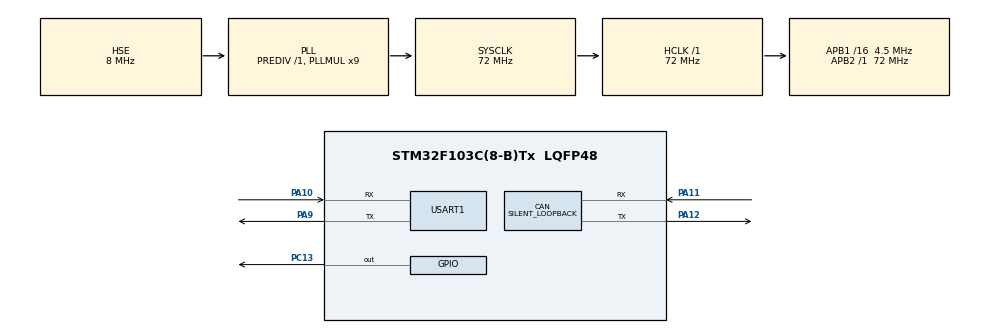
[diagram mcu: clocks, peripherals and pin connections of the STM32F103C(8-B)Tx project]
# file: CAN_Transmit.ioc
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CAN.CalculateTimeBit=10666
CAN.CalculateTimeQuantum=3555.5555555555557
CAN.Mode=CAN_MODE_SILENT_LOOPBACK
Mcu.Family=STM32F1
Mcu.Name=STM32F103C(8-B)Tx
Mcu.Package=LQFP48
NVIC.CAN1_RX1_IRQn=true\:0\:0\:false\:false\:true\:true
NVIC.PriorityGroup=NVIC_PRIORITYGROUP_4
PA10.Mode=Asynchronous
PA10.Signal=USART1_RX
PA11.Mode=Master
PA11.Signal=CAN_RX
PA12.Mode=Master
PA12.Signal=CAN_TX
PA13.Mode=Serial_Wire
PA13.Signal=SYS_JTMS-SWDIO
PA14.Mode=Serial_Wire
PA14.Signal=SYS_JTCK-SWCLK
PA9.Mode=Asynchronous
PA9.Signal=USART1_TX
PC13-TAMPER-RTC.Signal=GPIO_Output
PD0-OSC_IN.Mode=HSE-External-Oscillator
PD0-OSC_IN.Signal=RCC_OSC_IN
PD1-OSC_OUT.Mode=HSE-External-Oscillator
PD1-OSC_OUT.Signal=RCC_OSC_OUT
ProjectManager.HeapSize=0x200
ProjectManager.StackSize=0x400
ProjectManager.TargetToolchain=SW4STM32
RCC.AHBFreq_Value=72000000
RCC.APB1CLKDivider=RCC_HCLK_DIV16
RCC.APB1Freq_Value=4500000
RCC.APB1TimFreq_Value=9000000
RCC.APB2Freq_Value=72000000
RCC.APB2TimFreq_Value=72000000
RCC.HCLKFreq_Value=72000000
RCC.PLLMUL=RCC_PLL_MUL9
RCC.PLLSourceVirtual=RCC_PLLSOURCE_HSE
RCC.SYSCLKFreq_VALUE=72000000
RCC.SYSCLKSource=RCC_SYSCLKSOURCE_PLLCLK
RCC.USBFreq_Value=72000000
USART1.VirtualMode=VM_ASYNC
board=CAN_Transmit

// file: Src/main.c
/**
  ******************************************************************************
  * @file           : main.c
  * @brief          : Main program body
  ******************************************************************************
  ** This notice applies to any and all portions of this file
  * that are not between comment pairs USER CODE BEGIN and
  * USER CODE END. Other portions of this file, whether
  * inserted by the user or by software development tools
  * are owned by their respective copyright owners.
  *
  * COPYRIGHT(c) 2018 STMicroelectronics
  *
  * Redistribution and use in source and binary forms, with or without modification,
  * are permitted provided that the following conditions are met:
  *   1. Redistributions of source code must retain the above copyright notice,
  *      this list of conditions and the following disclaimer.
  *   2. Redistributions in binary form must reproduce the above copyright notice,
  *      this list of conditions and the following disclaimer in the documentation
  *      and/or other materials provided with the distribution.
  *   3. Neither the name of STMicroelectronics nor the names of its contributors
  *      may be used to endorse or promote products derived from this software
  *      without specific prior written permission.
  *
  * THIS SOFTWARE IS PROVIDED BY THE COPYRIGHT HOLDERS AND CONTRIBUTORS "AS IS"
  * AND ANY EXPRESS OR IMPLIED WARRANTIES, INCLUDING, BUT NOT LIMITED TO, THE
  * IMPLIED WARRANTIES OF MERCHANTABILITY AND FITNESS FOR A PARTICULAR PURPOSE ARE
  * DISCLAIMED. IN NO EVENT SHALL THE COPYRIGHT HOLDER OR CONTRIBUTORS BE LIABLE
  * FOR ANY DIRECT, INDIRECT, INCIDENTAL, SPECIAL, EXEMPLARY, OR CONSEQUENTIAL
  * DAMAGES (INCLUDING, BUT NOT LIMITED TO, PROCUREMENT OF SUBSTITUTE GOODS OR
  * SERVICES; LOSS OF USE, DATA, OR PROFITS; OR BUSINESS INTERRUPTION) HOWEVER
  * CAUSED AND ON ANY THEORY OF LIABILITY, WHETHER IN CONTRACT, STRICT LIABILITY,
  * OR TORT (INCLUDING NEGLIGENCE OR OTHERWISE) ARISING IN ANY WAY OUT OF THE USE
  * OF THIS SOFTWARE, EVEN IF ADVISED OF THE POSSIBILITY OF SUCH DAMAGE.
  *
  ******************************************************************************
  */
#include "main.h"
#include "stm32f1xx_hal.h"

/* USER CODE BEGIN Includes */

//#define __cplusplus;

/* USER CODE END Includes */

CAN_HandleTypeDef hcan;

UART_HandleTypeDef huart1;

/* USER CODE BEGIN PV */
/* Private variables ---------------------------------------------------------*/
uint8_t can_rx_data[200];
uint8_t can_tx_data[200];
static CanTxMsgTypeDef canTxMessage;
static CanRxMsgTypeDef canRxMessage;
uint16_t CAN_ID;
uint8_t CAN_DLC;
uint8_t DATA[8];
uint8_t hhal_state;

/* USER CODE END PV */

void SystemClock_Config(void);
static void MX_GPIO_Init(void);
static void MX_CAN_Init(void);
static void MX_USART1_UART_Init(void);

/* USER CODE BEGIN PFP */
/* Private function prototypes -----------------------------------------------*/
extern void initialise_monitor_handles(void);

/* USER CODE END PFP */

int main(void)
{

  /* MCU Configuration----------------------------------------------------------*/

  /* Reset of all peripherals, Initializes the Flash interface and the Systick. */
  HAL_Init();

  /* Configure the system clock */
  SystemClock_Config();

  /* Initialize all configured peripherals */
  MX_GPIO_Init();
  MX_CAN_Init();
  MX_USART1_UART_Init();
  /* USER CODE BEGIN 2 */
//  hcan->pTxMsg->StdId = 1;

//  hcan.pTxMsg = &canTxMessage;
//  hcan.pRxMsg = &canRxMessage;

/*	CAN_FilterConfTypeDef canFilterConfig;
	canFilterConfig.FilterNumber = 0;
	canFilterConfig.FilterMode = CAN_FILTERMODE_IDLIST;
	canFilterConfig.FilterScale = CAN_FILTERSCALE_16BIT;
	canFilterConfig.FilterIdHigh = 0x53A<<5;
	canFilterConfig.FilterIdLow = 0x54C<<5;
	canFilterConfig.FilterMaskIdHigh = 0x53D<<5;
	canFilterConfig.FilterMaskIdLow = 0x54F<<5;
	canFilterConfig.FilterFIFOAssignment = 0;
	canFilterConfig.FilterActivation = ENABLE;
	canFilterConfig.BankNumber = 1;
	HAL_CAN_ConfigFilter(&hcan, &canFilterConfig);

	canFilterConfig.FilterNumber = 1;
	canFilterConfig.FilterIdHigh = 0xA<<5;
	canFilterConfig.FilterIdLow = 0x33<<5;
	canFilterConfig.FilterMaskIdHigh = 0xA<<5;
	canFilterConfig.FilterMaskIdLow = 0x33<<5;
	HAL_CAN_ConfigFilter(&hcan, &canFilterConfig);
*/
//	HAL_CAN_Receive_IT(&hcan, CAN_FIFO0) ;

/*  HAL_Delay(500);
  HAL_GPIO_WritePin(GPIOC, GPIO_PIN_13, GPIO_PIN_SET);
  HAL_Delay(500);
  HAL_GPIO_WritePin(GPIOC, GPIO_PIN_13, GPIO_PIN_RESET);*/
//  HAL_TIM_Base_Start(&htim2);
//  HAL_TIM_Base_Start_IT(&htim2);

  HAL_CAN_Receive_IT(&hcan, CAN_FIFO0);
  initialise_monitor_handles();

  printf("Init OK, start While\n");

  /* USER CODE END 2 */

  /* Infinite loop */
  while (1)
  {

  /* USER CODE BEGIN 3 */

//	  HAL_GPIO_WritePin(GPIOC,GPIO_PIN_13,GPIO_PIN_SET);
//	  HAL_GPIO_TogglePin(GPIOC,GPIO_PIN_13);

	 // HAL_Delay(500);
//	  HAL_GPIO_WritePin(GPIOC,GPIO_PIN_13,GPIO_PIN_RESET);
	  //HAL_Delay(500);

	  hcan.pTxMsg->StdId = 0x222;
	  hcan.pTxMsg->DLC = 8;
	  hcan.pTxMsg->Data[0] = 1;
	  hcan.pTxMsg->Data[1] = 2;
	  hcan.pTxMsg->Data[2] = 3;
	  hcan.pTxMsg->Data[3] = 4;
	  hcan.pTxMsg->Data[4] = 5;
	  hcan.pTxMsg->Data[5] = 6;
	  hcan.pTxMsg->Data[6] = 7;
	  hcan.pTxMsg->Data[7] = 8;
//	  HAL_CAN_Transmit(&hcan, 10);

//	  __io_putchar("sdsdfasf\n");

	  hhal_state = HAL_CAN_Transmit_IT(&hcan);
	  printf("%d\n",hhal_state);
//	  HAL_UART_Transmit(&huart1, (uint8_t*) hhal_state, 10, 10);

//	  if (HAL_CAN_Transmit(&hcan,10) == HAL_OK)
//	  {
//		  HAL_GPIO_WritePin(GPIOC,GPIO_PIN_13,GPIO_PIN_SET);
//	  }

  }
  /* USER CODE END 3 */

}

void SystemClock_Config(void)
{

  RCC_OscInitTypeDef RCC_OscInitStruct;
  RCC_ClkInitTypeDef RCC_ClkInitStruct;

    /**Initializes the CPU, AHB and APB busses clocks
    */
  RCC_OscInitStruct.OscillatorType = RCC_OSCILLATORTYPE_HSE;
  RCC_OscInitStruct.HSEState = RCC_HSE_ON;
  RCC_OscInitStruct.HSEPredivValue = RCC_HSE_PREDIV_DIV1;
  RCC_OscInitStruct.HSIState = RCC_HSI_ON;
  RCC_OscInitStruct.PLL.PLLState = RCC_PLL_ON;
  RCC_OscInitStruct.PLL.PLLSource = RCC_PLLSOURCE_HSE;
  RCC_OscInitStruct.PLL.PLLMUL = RCC_PLL_MUL9;
  if (HAL_RCC_OscConfig(&RCC_OscInitStruct) != HAL_OK)
  {
    _Error_Handler(__FILE__, __LINE__);
  }

    /**Initializes the CPU, AHB and APB busses clocks
    */
  RCC_ClkInitStruct.ClockType = RCC_CLOCKTYPE_HCLK|RCC_CLOCKTYPE_SYSCLK
                              |RCC_CLOCKTYPE_PCLK1|RCC_CLOCKTYPE_PCLK2;
  RCC_ClkInitStruct.SYSCLKSource = RCC_SYSCLKSOURCE_PLLCLK;
  RCC_ClkInitStruct.AHBCLKDivider = RCC_SYSCLK_DIV1;
  RCC_ClkInitStruct.APB1CLKDivider = RCC_HCLK_DIV16;
  RCC_ClkInitStruct.APB2CLKDivider = RCC_HCLK_DIV1;

  if (HAL_RCC_ClockConfig(&RCC_ClkInitStruct, FLASH_LATENCY_2) != HAL_OK)
  {
    _Error_Handler(__FILE__, __LINE__);
  }

    /**Configure the Systick interrupt time
    */
  HAL_SYSTICK_Config(HAL_RCC_GetHCLKFreq()/1000);

    /**Configure the Systick
    */
  HAL_SYSTICK_CLKSourceConfig(SYSTICK_CLKSOURCE_HCLK);

  /* SysTick_IRQn interrupt configuration */
  HAL_NVIC_SetPriority(SysTick_IRQn, 0, 0);
}

/* CAN init function */
static void MX_CAN_Init(void)
{

  hcan.Instance = CAN1;
  hcan.Init.Prescaler = 16;
  hcan.Init.Mode = CAN_MODE_SILENT_LOOPBACK;
  hcan.Init.SJW = CAN_SJW_1TQ;
  hcan.Init.BS1 = CAN_BS1_1TQ;
  hcan.Init.BS2 = CAN_BS2_1TQ;
  hcan.Init.TTCM = DISABLE;
  hcan.Init.ABOM = DISABLE;
  hcan.Init.AWUM = DISABLE;
  hcan.Init.NART = DISABLE;
  hcan.Init.RFLM = DISABLE;
  hcan.Init.TXFP = DISABLE;
  if (HAL_CAN_Init(&hcan) != HAL_OK)
  {
    _Error_Handler(__FILE__, __LINE__);
  }

}

/* USART1 init function */
static void MX_USART1_UART_Init(void)
{

  huart1.Instance = USART1;
  huart1.Init.BaudRate = 115200;
  huart1.Init.WordLength = UART_WORDLENGTH_8B;
  huart1.Init.StopBits = UART_STOPBITS_1;
  huart1.Init.Parity = UART_PARITY_NONE;
  huart1.Init.Mode = UART_MODE_TX_RX;
  huart1.Init.HwFlowCtl = UART_HWCONTROL_NONE;
  huart1.Init.OverSampling = UART_OVERSAMPLING_16;
  if (HAL_UART_Init(&huart1) != HAL_OK)
  {
    _Error_Handler(__FILE__, __LINE__);
  }

}

/** Configure pins as
        * Analog
        * Input
        * Output
        * EVENT_OUT
        * EXTI
*/
static void MX_GPIO_Init(void)
{

  GPIO_InitTypeDef GPIO_InitStruct;

  /* GPIO Ports Clock Enable */
  __HAL_RCC_GPIOC_CLK_ENABLE();
  __HAL_RCC_GPIOD_CLK_ENABLE();
  __HAL_RCC_GPIOA_CLK_ENABLE();

  /*Configure GPIO pin Output Level */
  HAL_GPIO_WritePin(GPIOC, GPIO_PIN_13, GPIO_PIN_RESET);

  /*Configure GPIO pin : PC13 */
  GPIO_InitStruct.Pin = GPIO_PIN_13;
  GPIO_InitStruct.Mode = GPIO_MODE_OUTPUT_PP;
  GPIO_InitStruct.Speed = GPIO_SPEED_FREQ_LOW;
  HAL_GPIO_Init(GPIOC, &GPIO_InitStruct);

}

/* USER CODE BEGIN 4 */
void HAL_CAN_RxCpltCallback(CAN_HandleTypeDef *hcan1)
{
/*	uint32_t num_bytes;
	uint8_t buf[200];*/

/*	if (hcan->pRxMsg->StdId)
	{
		HAL_Delay(100);
		HAL_GPIO_WritePin(GPIOC,GPIO_PIN_13,GPIO_PIN_SET);
	}*/

//	HAL_GPIO_TogglePin(GPIOC, GPIO_PIN_13);
	HAL_GPIO_WritePin(GPIOC,GPIO_PIN_13,GPIO_PIN_SET);

/*	CAN_ID = hcan1->pRxMsg->StdId;
	CAN_DLC = hcan1->pRxMsg->DLC;
	DATA[0] = hcan1->pRxMsg->Data[0];
	DATA[1] = hcan1->pRxMsg->Data[1];
	DATA[2] = hcan1->pRxMsg->Data[2];
	DATA[3] = hcan1->pRxMsg->Data[3];
	DATA[4] = hcan1->pRxMsg->Data[4];
	DATA[5] = hcan1->pRxMsg->Data[5];
	DATA[6] = hcan1->pRxMsg->Data[6];
	DATA[7] = hcan1->pRxMsg->Data[7];
	HAL_CAN_Receive_IT(&hcan, CAN_FIFO0);*/

	HAL_CAN_Receive_IT(&hcan, CAN_FIFO0);

}

int __io_putchar(int ch)
{
ITM_SendChar(ch);
return ch;
}

/* USER CODE END 4 */

void _Error_Handler(char *file, int line)
{
  while(1)
  {
  }
}

/************************ (C) COPYRIGHT STMicroelectronics *****END OF FILE****/
